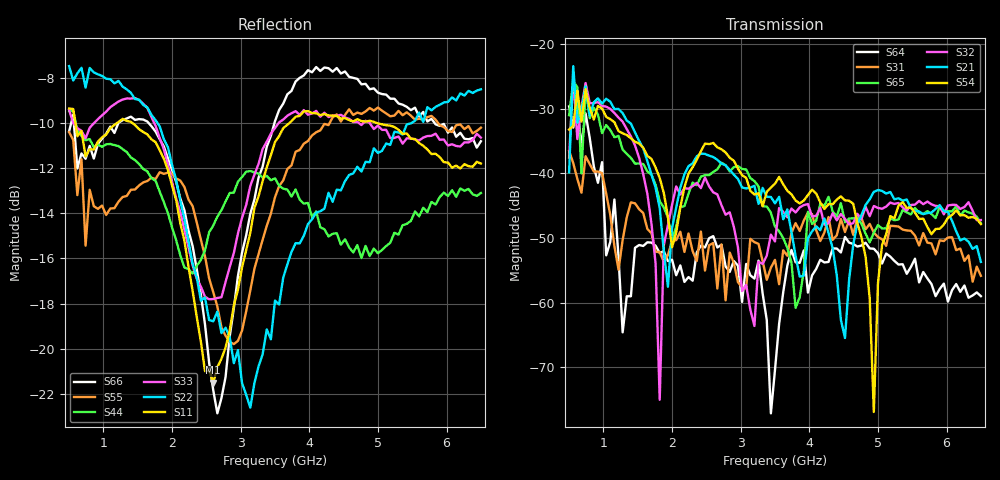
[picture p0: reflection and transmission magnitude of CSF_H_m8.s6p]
!Keysight Technologies,M9804A,MY58100912,A.14.10.03
!Date: Thursday, April 27, 2023 10:28:33
!Correction: S11(C  6-Port  )
!S12(C  6-Port  )
!S13(C  6-Port  )
!S14(C  6-Port  )
!S15(C  6-Port  )
!S16(C  6-Port  )
!S21(C  6-Port  )
!S22(C  6-Port  )
!S23(C  6-Port  )
!S24(C  6-Port  )
!S25(C  6-Port  )
!S26(C  6-Port  )
!S31(C  6-Port  )
!S32(C  6-Port  )
!S33(C  6-Port  )
!S34(C  6-Port  )
!S35(C  6-Port  )
!S36(C  6-Port  )
!S41(C  6-Port  )
!S42(C  6-Port  )
!S43(C  6-Port  )
!S44(C  6-Port  )
!S45(C  6-Port  )
!S46(C  6-Port  )
!S51(C  6-Port  )
!S52(C  6-Port  )
!S53(C  6-Port  )
!S54(C  6-Port  )
!S55(C  6-Port  )
!S56(C  6-Port  )
!S61(C  6-Port  )
!S62(C  6-Port  )
!S63(C  6-Port  )
!S64(C  6-Port  )
!S65(C  6-Port  )
!S66(C  6-Port  )
!S6P File: Measurement: :
# Hz S  RI  R 50
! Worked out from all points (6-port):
!   101 points, 500 MHz to 6.5 GHz, reference 50 ohm
!   strongest paths, dB at 500 MHz, 2 GHz, 3.5 GHz, 5 GHz, 6.5 GHz:
!     S54: -33.2, -51.5, -41.6, -57.1, -47.9
!     S21: -39.9, -48.5, -44.6, -42.6, -53.7
!     S32: -37.6, -44.9, -50.5, -45.4, -47.2
!     S65: -31.0, -50.3, -48.2, -48.0, -47.8
!     S31: -36.5, -50.5, -53.4, -49.9, -55.9
!     S64: -29.7, -53.4, -70.4, -52.4, -59.0
!   lowest |S11| = -21.5 dB at 2.6 GHz (marker M1), VSWR 1.18, Z = 42.5 + j2.15 ohm
!   |S11| at or under -10 dB: 590.5 MHz to 1.201 GHz (610.8 MHz wide, 68.2 % of centre); 1.419 GHz to 3.713 GHz (2.294 GHz wide, 89.4 % of centre); 4.978 GHz to end of sweep
